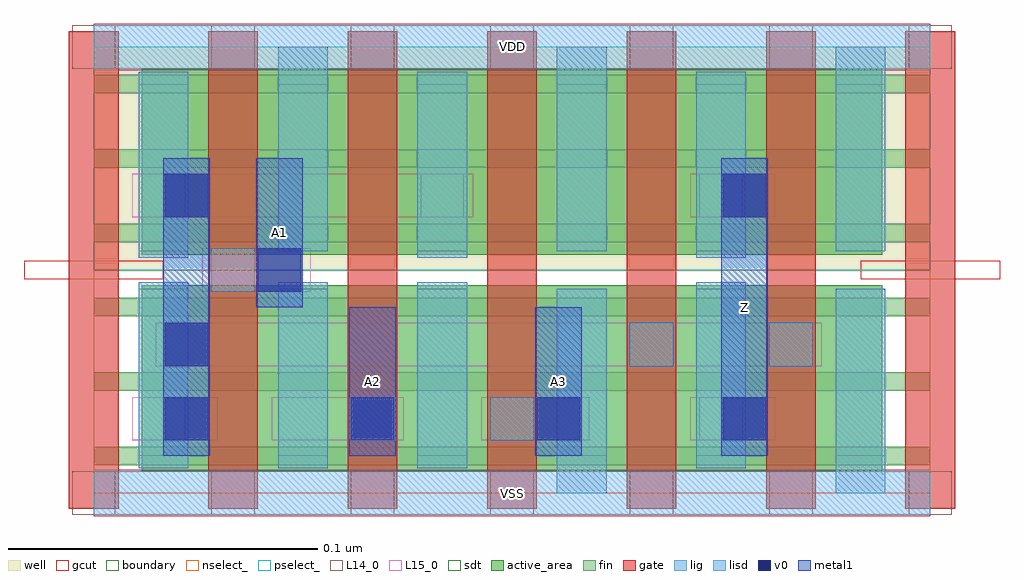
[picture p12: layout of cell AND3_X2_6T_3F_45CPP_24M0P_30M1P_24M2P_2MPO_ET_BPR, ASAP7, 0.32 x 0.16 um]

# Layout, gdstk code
import gdstk
lib = gdstk.Library(unit=1e-6, precision=2.5e-10)
def R(c, l, rs):  # rectangles x0, y0, x1, y1
    for r in rs: c.add(gdstk.rectangle(r[:2], r[2:], *l))
def A(c, l, x, y, w, h, nx, ny, dx, dy):  # array of equal rectangles
    R(c, l, [(x+i*dx, y+j*dy, x+i*dx+w, y+j*dy+h) for i in range(nx) for j in range(ny)])
well = (1, 0)
fin = (2, 0)
gate = (7, 0)
gcut = (10, 0)
active_area = (11, 0)
nselect_ = (12, 0)
pselect_ = (13, 0)
L14_0 = (14, 0)
L15_0 = (15, 0)
lig = (16, 0)
lisd = (17, 0)
v0 = (18, 0)
metal1 = (19, 0)
sdt = (88, 0)
boundary = (100, 0)

and3_x2_6t_3f_45cpp_24m0 = lib.new_cell('AND3_X2_6T_3F_45CPP_24M0P_30M1P_24M2P_2MPO_ET_BPR')
R(and3_x2_6t_3f_45cpp_24m0, well, [(0,0.072,0.27,0.144)])
A(and3_x2_6t_3f_45cpp_24m0, fin, 0, 0.009, 0.27, 0.006, 1, 6, 0, 0.024)
A(and3_x2_6t_3f_45cpp_24m0, gate, -0.008, -0.005, 0.016, 0.154, 7, 1, 0.045, 0)
R(and3_x2_6t_3f_45cpp_24m0, gcut, [(0,-0.0075,0.27,0.0075), (-0.0225,0.069,0.0225,0.075), (0.2475,0.069,0.2925,0.075), (0,0.1365,0.27,0.1515)])
A(and3_x2_6t_3f_45cpp_24m0, active_area, 0.0155, 0.007, 0.059, 0.06, 3, 2, 0.045, 0.07)
R(and3_x2_6t_3f_45cpp_24m0, active_area, [(0.1505,0.007,0.2545,0.067), (0.1505,0.077,0.2545,0.137)])
R(and3_x2_6t_3f_45cpp_24m0, nselect_, [(0,0,0.27,0.072)])
R(and3_x2_6t_3f_45cpp_24m0, pselect_, [(0,0.072,0.27,0.144)])
A(and3_x2_6t_3f_45cpp_24m0, L14_0, -0.007, -0.007, 0.014, 0.014, 7, 2, 0.045, 0.144)
A(and3_x2_6t_3f_45cpp_24m0, L14_0, 0.0155, 0.089, 0.014, 0.014, 3, 1, 0.09, 0)
R(and3_x2_6t_3f_45cpp_24m0, L14_0, [(0.0155,0.017,0.0295,0.031), (0.083,0.017,0.097,0.031), (0.128,0.017,0.142,0.031), (0.1955,0.017,0.2095,0.031), (0.173,0.041,0.187,0.055), (0.218,0.041,0.232,0.055), (0.038,0.065,0.052,0.079)])
R(and3_x2_6t_3f_45cpp_24m0, L15_0, [(0,-0.007,0.27,0.007), (0.0125,0.017,0.04,0.031), (0.0575,0.017,0.1,0.031), (0.125,0.017,0.16,0.031), (0.1925,0.017,0.22,0.031), (0.02,0.041,0.235,0.055), (0.035,0.065,0.07,0.079), (0.0125,0.089,0.1225,0.103), (0.1925,0.089,0.22,0.103), (0,0.137,0.27,0.151)])
R(and3_x2_6t_3f_45cpp_24m0, lig, [(0,-0.007,0.27,0.007), (0.083,0.017,0.097,0.031), (0.128,0.017,0.142,0.031), (0.173,0.041,0.187,0.055), (0.218,0.041,0.232,0.055), (0.038,0.065,0.052,0.079), (0,0.137,0.27,0.151)])
A(and3_x2_6t_3f_45cpp_24m0, lisd, 0.0145, 0.008, 0.016, 0.06, 3, 1, 0.045, 0)
A(and3_x2_6t_3f_45cpp_24m0, lisd, 0.0145, 0.076, 0.016, 0.06, 3, 1, 0.09, 0)
A(and3_x2_6t_3f_45cpp_24m0, lisd, 0.0595, 0.078, 0.016, 0.066, 3, 1, 0.09, 0)
R(and3_x2_6t_3f_45cpp_24m0, lisd, [(0.1495,0,0.1655,0.066), (0.2395,0,0.2555,0.066), (0.1945,0.008,0.2105,0.068)])
A(and3_x2_6t_3f_45cpp_24m0, v0, 0.023, 0.017, 0.014, 0.014, 4, 1, 0.06, 0)
R(and3_x2_6t_3f_45cpp_24m0, v0, [(0.023,0.041,0.037,0.055), (0.053,0.065,0.067,0.079), (0.023,0.089,0.037,0.103), (0.203,0.089,0.217,0.103)])
R(and3_x2_6t_3f_45cpp_24m0, metal1, [(0.0225,0.012,0.0375,0.108), (0.0825,0.012,0.0975,0.06), (0.1425,0.012,0.1575,0.06), (0.2025,0.012,0.2175,0.108), (0.0525,0.06,0.0675,0.108)])
A(and3_x2_6t_3f_45cpp_24m0, sdt, 0.0145, 0.012, 0.016, 0.054, 6, 2, 0.045, 0.066)
R(and3_x2_6t_3f_45cpp_24m0, boundary, [(0,0,0.27,0.144)])
and3_x2_6t_3f_45cpp_24m0.add(gdstk.Label('Z', (0.21,0.06), layer=19, texttype=251))
and3_x2_6t_3f_45cpp_24m0.add(gdstk.Label('A3', (0.15,0.036), layer=19, texttype=251))
and3_x2_6t_3f_45cpp_24m0.add(gdstk.Label('A1', (0.06,0.084), layer=19, texttype=251))
and3_x2_6t_3f_45cpp_24m0.add(gdstk.Label('A2', (0.09,0.036), layer=19, texttype=251))
and3_x2_6t_3f_45cpp_24m0.add(gdstk.Label('VDD', (0.135,0.144), layer=15, texttype=251))
and3_x2_6t_3f_45cpp_24m0.add(gdstk.Label('VSS', (0.135,0), layer=15, texttype=251))
and3_x2_6t_3f_45cpp_24m0.add(gdstk.Label('VDD', (0.135,0.144), layer=1, texttype=251))
and3_x2_6t_3f_45cpp_24m0.add(gdstk.Label('VSS', (0.135,0), layer=3, texttype=251))

lib.write_gds('AND3_X2_6T_3F_45CPP_24M0P_30M1P_24M2P_2MPO_ET_BPR.gds')
